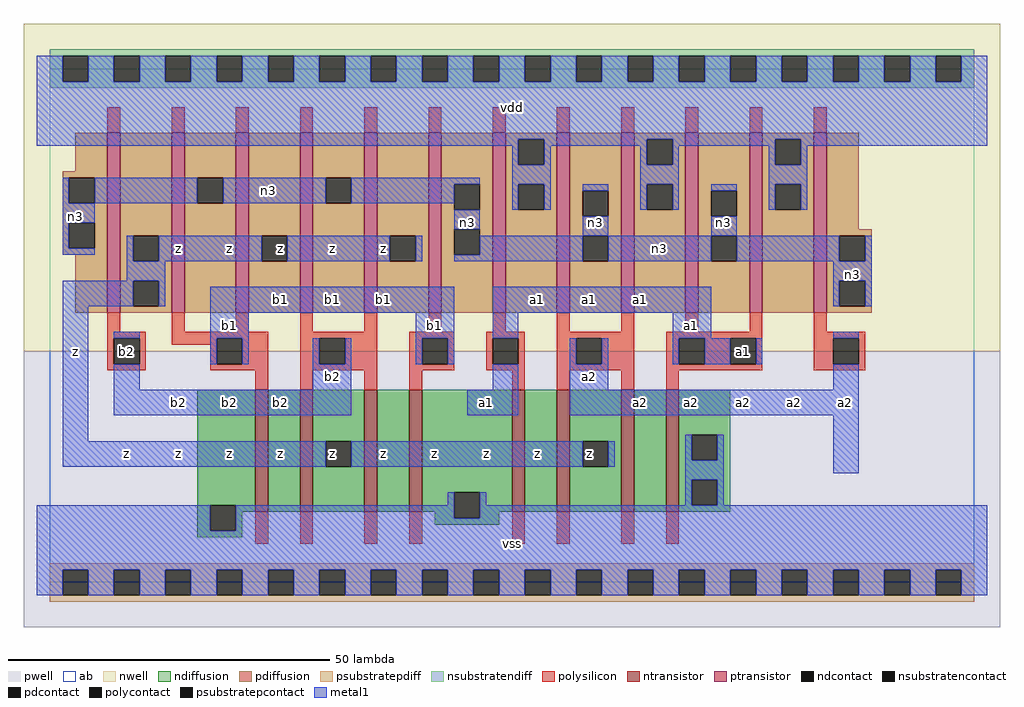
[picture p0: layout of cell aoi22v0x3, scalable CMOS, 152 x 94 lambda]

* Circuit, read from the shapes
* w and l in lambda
.subckt aoi22v0x3 a1 a2 b1 b2 n3 vdd vss z
M1 n1 b1 vss vss nfet w=19 l=2
M2 z b2 n1 vss nfet w=19 l=2
M3 n2 b2 z vss nfet w=19 l=2
M4 vss b1 n2 vss nfet w=19 l=2
M5 n4 a1 vss vss nfet w=19 l=2
M6 z a2 n4 vss nfet w=19 l=2
M7 n5 a2 z vss nfet w=19 l=2
M8 vss a1 n5 vss nfet w=19 l=2
M9 z b2 n3 vdd pfet w=28 l=2 m=3
M10 n3 b1 z vdd pfet w=28 l=2 m=3
M11 vdd a1 n3 vdd pfet w=28 l=2 m=3
M12 n3 a2 vdd vdd pfet w=28 l=2 m=3
.ends

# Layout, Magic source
magic
tech scmos
<< ab >>
rect 0 0 144 80
<< pwell >>
rect -4 -7 148 36
<< nwell >>
rect -4 36 148 87
<< polysilicon >>
rect 9 70 11 74
rect 19 70 21 74
rect 29 70 31 74
rect 39 70 41 74
rect 49 70 51 74
rect 59 70 61 74
rect 69 70 71 74
rect 79 70 81 74
rect 89 70 91 74
rect 99 70 101 74
rect 109 70 111 74
rect 119 70 121 74
rect 9 39 11 42
rect 19 39 21 42
rect 29 39 31 42
rect 39 39 41 42
rect 49 39 51 42
rect 59 39 61 42
rect 69 39 71 42
rect 79 39 81 42
rect 89 39 91 42
rect 99 39 101 42
rect 109 39 111 42
rect 9 38 15 39
rect 9 34 10 38
rect 14 34 15 38
rect 19 38 34 39
rect 19 37 26 38
rect 9 33 15 34
rect 25 34 26 37
rect 30 34 34 38
rect 25 33 34 34
rect 32 30 34 33
rect 39 38 51 39
rect 39 34 42 38
rect 46 34 51 38
rect 39 33 51 34
rect 39 30 41 33
rect 49 30 51 33
rect 56 38 63 39
rect 56 34 58 38
rect 62 34 63 38
rect 56 33 63 34
rect 68 38 74 39
rect 68 34 69 38
rect 73 34 74 38
rect 68 33 74 34
rect 56 30 58 33
rect 72 30 74 33
rect 79 38 91 39
rect 79 34 82 38
rect 86 34 91 38
rect 79 33 91 34
rect 79 30 81 33
rect 89 30 91 33
rect 96 38 111 39
rect 96 34 98 38
rect 102 34 106 38
rect 110 34 111 38
rect 96 33 111 34
rect 119 39 121 42
rect 119 38 127 39
rect 119 34 122 38
rect 126 34 127 38
rect 119 33 127 34
rect 96 30 98 33
rect 32 6 34 11
rect 39 6 41 11
rect 49 6 51 11
rect 56 6 58 11
rect 72 6 74 11
rect 79 6 81 11
rect 89 6 91 11
rect 96 6 98 11
<< ndiffusion >>
rect 23 12 32 30
rect 23 8 25 12
rect 29 11 32 12
rect 34 11 39 30
rect 41 22 49 30
rect 41 18 43 22
rect 47 18 49 22
rect 41 11 49 18
rect 51 11 56 30
rect 58 14 72 30
rect 58 11 63 14
rect 29 8 30 11
rect 23 7 30 8
rect 60 10 63 11
rect 67 11 72 14
rect 74 11 79 30
rect 81 22 89 30
rect 81 18 83 22
rect 87 18 89 22
rect 81 11 89 18
rect 91 11 96 30
rect 98 23 106 30
rect 98 19 100 23
rect 104 19 106 23
rect 98 16 106 19
rect 98 12 100 16
rect 104 12 106 16
rect 98 11 106 12
rect 67 10 70 11
rect 60 9 70 10
<< pdiffusion >>
rect 4 64 9 70
rect 2 63 9 64
rect 2 59 3 63
rect 7 59 9 63
rect 2 56 9 59
rect 2 52 3 56
rect 7 52 9 56
rect 2 51 9 52
rect 4 42 9 51
rect 11 54 19 70
rect 11 50 13 54
rect 17 50 19 54
rect 11 47 19 50
rect 11 43 13 47
rect 17 43 19 47
rect 11 42 19 43
rect 21 63 29 70
rect 21 59 23 63
rect 27 59 29 63
rect 21 42 29 59
rect 31 54 39 70
rect 31 50 33 54
rect 37 50 39 54
rect 31 42 39 50
rect 41 63 49 70
rect 41 59 43 63
rect 47 59 49 63
rect 41 42 49 59
rect 51 54 59 70
rect 51 50 53 54
rect 57 50 59 54
rect 51 42 59 50
rect 61 62 69 70
rect 61 58 63 62
rect 67 58 69 62
rect 61 55 69 58
rect 61 51 63 55
rect 67 51 69 55
rect 61 42 69 51
rect 71 69 79 70
rect 71 65 73 69
rect 77 65 79 69
rect 71 62 79 65
rect 71 58 73 62
rect 77 58 79 62
rect 71 42 79 58
rect 81 61 89 70
rect 81 57 83 61
rect 87 57 89 61
rect 81 54 89 57
rect 81 50 83 54
rect 87 50 89 54
rect 81 42 89 50
rect 91 69 99 70
rect 91 65 93 69
rect 97 65 99 69
rect 91 62 99 65
rect 91 58 93 62
rect 97 58 99 62
rect 91 42 99 58
rect 101 61 109 70
rect 101 57 103 61
rect 107 57 109 61
rect 101 54 109 57
rect 101 50 103 54
rect 107 50 109 54
rect 101 42 109 50
rect 111 69 119 70
rect 111 65 113 69
rect 117 65 119 69
rect 111 62 119 65
rect 111 58 113 62
rect 117 58 119 62
rect 111 42 119 58
rect 121 55 126 70
rect 121 54 128 55
rect 121 50 123 54
rect 127 50 128 54
rect 121 47 128 50
rect 121 43 123 47
rect 127 43 128 47
rect 121 42 128 43
<< metal1 >>
rect -2 78 2 82
rect 6 78 10 82
rect 14 78 18 82
rect 22 78 26 82
rect 30 78 34 82
rect 38 78 42 82
rect 46 78 50 82
rect 54 78 58 82
rect 62 78 66 82
rect 70 78 74 82
rect 78 78 82 82
rect 86 78 90 82
rect 94 78 98 82
rect 102 78 106 82
rect 110 78 114 82
rect 118 78 122 82
rect 126 78 130 82
rect 134 78 138 82
rect 142 78 146 82
rect -2 69 146 78
rect -2 68 73 69
rect 72 65 73 68
rect 77 68 93 69
rect 77 65 78 68
rect 2 59 3 63
rect 7 59 23 63
rect 27 59 43 63
rect 47 62 67 63
rect 47 59 63 62
rect 2 56 7 59
rect 2 52 3 56
rect 72 62 78 65
rect 92 65 93 68
rect 97 68 113 69
rect 97 65 98 68
rect 92 62 98 65
rect 112 65 113 68
rect 117 68 146 69
rect 117 65 118 68
rect 112 62 118 65
rect 72 58 73 62
rect 77 58 78 62
rect 83 61 87 62
rect 63 55 67 58
rect 2 51 7 52
rect 12 50 13 54
rect 17 50 33 54
rect 37 50 53 54
rect 57 50 58 54
rect 92 58 93 62
rect 97 58 98 62
rect 103 61 107 62
rect 83 54 87 57
rect 112 58 113 62
rect 117 58 118 62
rect 103 54 107 57
rect 67 51 83 54
rect 63 50 83 51
rect 87 50 103 54
rect 107 50 123 54
rect 127 50 128 54
rect 12 47 18 50
rect 2 43 13 47
rect 17 43 18 47
rect 122 47 128 50
rect 2 22 6 43
rect 25 42 63 46
rect 10 38 14 39
rect 25 38 31 42
rect 57 38 63 42
rect 25 34 26 38
rect 30 34 31 38
rect 41 34 42 38
rect 46 34 47 38
rect 57 34 58 38
rect 62 34 63 38
rect 69 42 103 46
rect 122 43 123 47
rect 127 43 128 47
rect 69 38 73 42
rect 97 38 103 42
rect 122 38 126 39
rect 10 30 14 34
rect 41 30 47 34
rect 69 30 73 34
rect 10 26 47 30
rect 65 26 73 30
rect 81 34 82 38
rect 86 34 87 38
rect 97 34 98 38
rect 102 34 106 38
rect 110 34 111 38
rect 81 30 87 34
rect 122 30 126 34
rect 81 26 126 30
rect 2 18 43 22
rect 47 18 83 22
rect 87 18 88 22
rect 99 19 100 23
rect 104 19 105 23
rect 99 16 105 19
rect 122 17 126 26
rect 62 12 63 14
rect -2 8 25 12
rect 29 10 63 12
rect 67 12 68 14
rect 99 12 100 16
rect 104 12 105 16
rect 67 10 146 12
rect 29 8 146 10
rect -2 2 146 8
rect -2 -2 2 2
rect 6 -2 10 2
rect 14 -2 18 2
rect 22 -2 26 2
rect 30 -2 34 2
rect 38 -2 42 2
rect 46 -2 50 2
rect 54 -2 58 2
rect 62 -2 66 2
rect 70 -2 74 2
rect 78 -2 82 2
rect 86 -2 90 2
rect 94 -2 98 2
rect 102 -2 106 2
rect 110 -2 114 2
rect 118 -2 122 2
rect 126 -2 130 2
rect 134 -2 138 2
rect 142 -2 146 2
<< ntransistor >>
rect 32 11 34 30
rect 39 11 41 30
rect 49 11 51 30
rect 56 11 58 30
rect 72 11 74 30
rect 79 11 81 30
rect 89 11 91 30
rect 96 11 98 30
<< ptransistor >>
rect 9 42 11 70
rect 19 42 21 70
rect 29 42 31 70
rect 39 42 41 70
rect 49 42 51 70
rect 59 42 61 70
rect 69 42 71 70
rect 79 42 81 70
rect 89 42 91 70
rect 99 42 101 70
rect 109 42 111 70
rect 119 42 121 70
<< polycontact >>
rect 10 34 14 38
rect 26 34 30 38
rect 42 34 46 38
rect 58 34 62 38
rect 69 34 73 38
rect 82 34 86 38
rect 98 34 102 38
rect 106 34 110 38
rect 122 34 126 38
<< ndcontact >>
rect 25 8 29 12
rect 43 18 47 22
rect 63 10 67 14
rect 83 18 87 22
rect 100 19 104 23
rect 100 12 104 16
<< pdcontact >>
rect 3 59 7 63
rect 3 52 7 56
rect 13 50 17 54
rect 13 43 17 47
rect 23 59 27 63
rect 33 50 37 54
rect 43 59 47 63
rect 53 50 57 54
rect 63 58 67 62
rect 63 51 67 55
rect 73 65 77 69
rect 73 58 77 62
rect 83 57 87 61
rect 83 50 87 54
rect 93 65 97 69
rect 93 58 97 62
rect 103 57 107 61
rect 103 50 107 54
rect 113 65 117 69
rect 113 58 117 62
rect 123 50 127 54
rect 123 43 127 47
<< psubstratepcontact >>
rect 2 -2 6 2
rect 10 -2 14 2
rect 18 -2 22 2
rect 26 -2 30 2
rect 34 -2 38 2
rect 42 -2 46 2
rect 50 -2 54 2
rect 58 -2 62 2
rect 66 -2 70 2
rect 74 -2 78 2
rect 82 -2 86 2
rect 90 -2 94 2
rect 98 -2 102 2
rect 106 -2 110 2
rect 114 -2 118 2
rect 122 -2 126 2
rect 130 -2 134 2
rect 138 -2 142 2
<< nsubstratencontact >>
rect 2 78 6 82
rect 10 78 14 82
rect 18 78 22 82
rect 26 78 30 82
rect 34 78 38 82
rect 42 78 46 82
rect 50 78 54 82
rect 58 78 62 82
rect 66 78 70 82
rect 74 78 78 82
rect 82 78 86 82
rect 90 78 94 82
rect 98 78 102 82
rect 106 78 110 82
rect 114 78 118 82
rect 122 78 126 82
rect 130 78 134 82
rect 138 78 142 82
<< psubstratepdiff >>
rect 0 2 144 3
rect 0 -2 2 2
rect 6 -2 10 2
rect 14 -2 18 2
rect 22 -2 26 2
rect 30 -2 34 2
rect 38 -2 42 2
rect 46 -2 50 2
rect 54 -2 58 2
rect 62 -2 66 2
rect 70 -2 74 2
rect 78 -2 82 2
rect 86 -2 90 2
rect 94 -2 98 2
rect 102 -2 106 2
rect 110 -2 114 2
rect 118 -2 122 2
rect 126 -2 130 2
rect 134 -2 138 2
rect 142 -2 144 2
rect 0 -3 144 -2
<< nsubstratendiff >>
rect 0 82 144 83
rect 0 78 2 82
rect 6 78 10 82
rect 14 78 18 82
rect 22 78 26 82
rect 30 78 34 82
rect 38 78 42 82
rect 46 78 50 82
rect 54 78 58 82
rect 62 78 66 82
rect 70 78 74 82
rect 78 78 82 82
rect 86 78 90 82
rect 94 78 98 82
rect 102 78 106 82
rect 110 78 114 82
rect 118 78 122 82
rect 126 78 130 82
rect 134 78 138 82
rect 142 78 144 82
rect 0 77 144 78
<< labels >>
rlabel metal1 12 20 12 20 6 z
rlabel polycontact 12 36 12 36 6 b2
rlabel metal1 4 36 4 36 6 z
rlabel metal1 4 57 4 57 6 n3
rlabel metal1 20 20 20 20 6 z
rlabel metal1 36 20 36 20 6 z
rlabel ndcontact 44 20 44 20 6 z
rlabel metal1 28 20 28 20 6 z
rlabel metal1 28 28 28 28 6 b2
rlabel metal1 36 28 36 28 6 b2
rlabel metal1 20 28 20 28 6 b2
rlabel metal1 44 32 44 32 6 b2
rlabel metal1 28 40 28 40 6 b1
rlabel metal1 44 44 44 44 6 b1
rlabel metal1 36 44 36 44 6 b1
rlabel metal1 20 52 20 52 6 z
rlabel metal1 28 52 28 52 6 z
rlabel metal1 44 52 44 52 6 z
rlabel pdcontact 36 52 36 52 6 z
rlabel metal1 68 20 68 20 6 z
rlabel metal1 60 20 60 20 6 z
rlabel metal1 52 20 52 20 6 z
rlabel metal1 68 28 68 28 6 a1
rlabel metal1 52 44 52 44 6 b1
rlabel metal1 60 40 60 40 6 b1
rlabel metal1 52 52 52 52 6 z
rlabel metal1 65 56 65 56 6 n3
rlabel metal1 34 61 34 61 6 n3
rlabel metal1 72 6 72 6 6 vss
rlabel metal1 76 20 76 20 6 z
rlabel ndcontact 84 20 84 20 6 z
rlabel metal1 92 28 92 28 6 a2
rlabel metal1 84 32 84 32 6 a2
rlabel metal1 84 44 84 44 6 a1
rlabel metal1 92 44 92 44 6 a1
rlabel metal1 76 44 76 44 6 a1
rlabel metal1 85 56 85 56 6 n3
rlabel metal1 72 74 72 74 6 vdd
rlabel metal1 108 28 108 28 6 a2
rlabel metal1 116 28 116 28 6 a2
rlabel metal1 100 28 100 28 6 a2
rlabel polycontact 108 36 108 36 6 a1
rlabel metal1 100 40 100 40 6 a1
rlabel metal1 105 56 105 56 6 n3
rlabel metal1 124 28 124 28 6 a2
rlabel metal1 125 48 125 48 6 n3
rlabel metal1 95 52 95 52 6 n3
<< end >>
